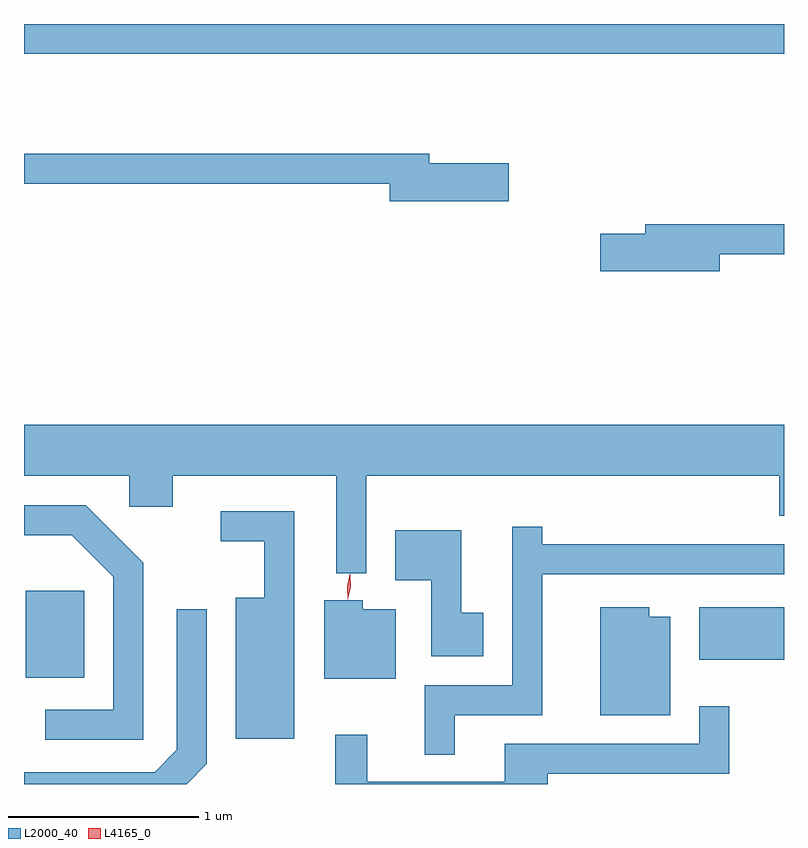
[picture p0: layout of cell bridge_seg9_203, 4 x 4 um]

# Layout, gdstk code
import gdstk
lib = gdstk.Library(unit=1e-6, precision=1e-09)
def R(c, l, rs):  # rectangles x0, y0, x1, y1
    for r in rs: c.add(gdstk.rectangle(r[:2], r[2:], *l))
def P(c, l, *ps):  # polygons
    for p in ps: c.add(gdstk.Polygon(p, *l))
L2000_40 = (2000, 40)
L4165_0 = (4165, 0)

bridge_seg9_203 = lib.new_cell('bridge_seg9_203')
R(bridge_seg9_203, L2000_40, [(1076.561,1964.111,1076.869,1964.569), (1080.106,1964.206,1080.552,1964.484), (1076.552,1967.396,1080.552,1967.553)])
P(bridge_seg9_203, L2000_40, [(1079.104,1966.819),(1078.684,1966.819),(1078.684,1966.869),(1076.552,1966.869),(1076.552,1966.711),(1078.476,1966.711),(1078.476,1966.621),(1079.104,1966.621)],
  [(1080.214,1966.341),(1080.552,1966.341),(1080.552,1966.499),(1079.821,1966.499),(1079.821,1966.449),(1079.586,1966.449),(1079.586,1966.251),(1080.214,1966.251)],
  [(1076.552,1965.176),(1077.106,1965.176),(1077.106,1965.011),(1077.334,1965.011),(1077.334,1965.176),(1078.196,1965.176),(1078.196,1964.663),(1078.354,1964.663),(1078.354,1965.176),(1080.526,1965.176),(1080.526,1964.966),(1080.552,1964.966),(1080.552,1965.444),(1076.552,1965.444)],
  [(1077.179,1964.717),(1076.877,1965.019),(1076.552,1965.019),(1076.552,1964.861),(1076.804,1964.861),(1077.021,1964.644),(1077.021,1963.944),(1076.663,1963.944),(1076.663,1963.786),(1077.179,1963.786)],
  [(1077.974,1964.989),(1077.588,1964.989),(1077.588,1964.831),(1077.816,1964.831),(1077.816,1964.534),(1077.666,1964.534),(1077.666,1963.791),(1077.974,1963.791)],
  [(1078.819,1963.916),(1079.279,1963.916),(1079.279,1964.656),(1080.552,1964.656),(1080.552,1964.814),(1079.279,1964.814),(1079.279,1964.908),(1079.121,1964.908),(1079.121,1964.074),(1078.661,1964.074),(1078.661,1963.708),(1078.819,1963.708)],
  [(1078.969,1964.454),(1078.854,1964.454),(1078.854,1964.889),(1078.506,1964.889),(1078.506,1964.626),(1078.696,1964.626),(1078.696,1964.226),(1078.969,1964.226)],
  [(1078.509,1964.474),(1078.334,1964.474),(1078.334,1964.519),(1078.131,1964.519),(1078.131,1964.106),(1078.509,1964.106)],
  [(1079.954,1964.434),(1079.844,1964.434),(1079.844,1964.484),(1079.586,1964.484),(1079.586,1963.916),(1079.954,1963.916)],
  [(1077.514,1963.659),(1077.514,1964.473),(1077.356,1964.473),(1077.356,1963.732),(1077.239,1963.614),(1076.552,1963.614),(1076.552,1963.553),(1077.409,1963.553)],
  [(1079.309,1963.606),(1080.264,1963.606),(1080.264,1963.963),(1080.106,1963.963),(1080.106,1963.764),(1079.081,1963.764),(1079.081,1963.564),(1078.359,1963.564),(1078.359,1963.813),(1078.191,1963.813),(1078.191,1963.553),(1079.309,1963.553)])
P(bridge_seg9_203, L4165_0, [(1078.257,1964.524),(1078.256,1964.525),(1078.252,1964.591),(1078.267,1964.657),(1078.268,1964.657),(1078.268,1964.657),(1078.272,1964.59),(1078.257,1964.525)])

lib.write_gds('bridge_seg9_203.gds')
